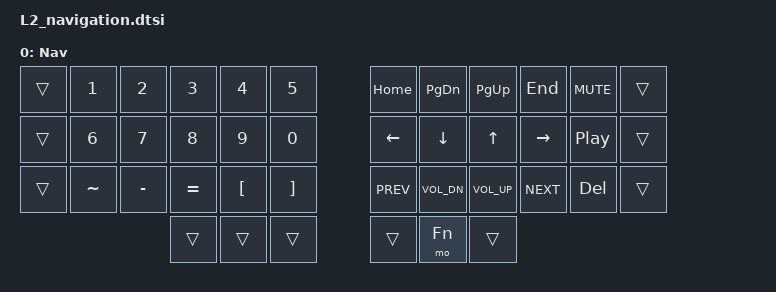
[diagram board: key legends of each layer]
/**
 * Navigation, Numbers, and Media Controls Layer
 * Optimized for navigation and number access with media controls
 */

/ {
  keymap {
    compatible = "zmk,keymap";

    layer_2 {
      display-name = "Nav";
      bindings = <
// ╭───────────────┬───────────────┬───────────────┬───────────────┬───────────────┬───────────────╮   ╭───────────────┬───────────────┬───────────────┬───────────────┬───────────────┬───────────────╮
// │0              │1              │2              │3              │4              │5              │   │6              │7              │8              │9              │10             │11             │
    &trans          &kp N1          &kp N2          &kp N3          &kp N4          &kp N5              &kp HOME        &kp PG_DN       &kp PG_UP       &kp END         &kp C_MUTE      &trans
// ├───────────────├───────────────┼───────────────┼───────────────┼───────────────┼───────────────┤   ├───────────────├───────────────┼───────────────┼───────────────┼───────────────┼───────────────┤
// │12             │13             │14             │15             │16             │17             │   │18             │19             │20             │21             │22             │23             │
    &trans          &kp N6          &kp N7          &kp N8          &kp N9          &kp N0              &kp LEFT        &kp DOWN        &kp UP          &kp RIGHT       &kp C_PP        &trans
// ├───────────────├───────────────┼───────────────┼───────────────┼───────────────┼───────────────┤   ├───────────────├───────────────┼───────────────┼───────────────┼───────────────┼───────────────┤
// │24             │25             │26             │27             │28             │29             │   │30             │31             │32             │33             │34             │35             │
    &trans          &kp TILDE       &kp MINUS       &kp EQUAL       &kp LBKT        &kp RBKT            &kp C_PREV      &kp C_VOL_DN    &kp C_VOL_UP    &kp C_NEXT      &kp DEL         &trans
// ╰───────────────┴───────────────┴───────────────┼───────────────┼───────────────┼───────────────┤   ├───────────────├───────────────┼───────────────┼───────────────┴───────────────┴───────────────╯
//                                                 │36             │37             │38             │   │39             │40             │41             │
                                                    &trans          &trans          &trans              &trans          &mo Fn          &trans
//                                                 ╰───────────────┴───────────────┴───────────────╯   ╰───────────────┴───────────────┴───────────────╯
      >;
    };
  };
};
